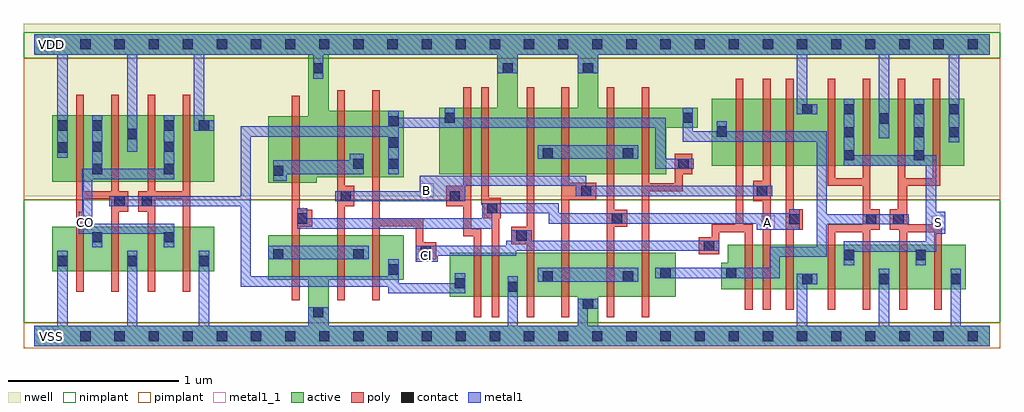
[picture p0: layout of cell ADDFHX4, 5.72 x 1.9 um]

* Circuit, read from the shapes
.subckt ADDFHX4 A B CI CO S VDD VSS
M1 CO n1 VSS VSS nfet w=0.26u l=0.045u m=4
M2 VSS A n2 VSS nfet w=0.26u l=0.045u
M3 n2 B VSS VSS nfet w=0.26u l=0.045u
M4 n1 CI n2 VSS nfet w=0.26u l=0.045u
M5 n3 B n1 VSS nfet w=0.26u l=0.045u
M6 VSS A n3 VSS nfet w=0.26u l=0.045u
M7 n4 CI VSS VSS nfet w=0.26u l=0.045u
M8 VSS B n4 VSS nfet w=0.26u l=0.045u
M9 n4 A VSS VSS nfet w=0.26u l=0.045u
M10 n5 n1 n4 VSS nfet w=0.26u l=0.045u
M11 n6 CI n5 VSS nfet w=0.26u l=0.045u
M12 n7 B n6 VSS nfet w=0.26u l=0.045u
M13 VSS A n7 VSS nfet w=0.26u l=0.045u
M14 S n5 VSS VSS nfet w=0.26u l=0.045u m=4
M15 CO n1 VDD VDD pfet w=0.39u l=0.045u m=4
M16 VDD A n8 VDD pfet w=0.39u l=0.045u
M17 n8 B VDD VDD pfet w=0.39u l=0.045u
M18 n1 CI n8 VDD pfet w=0.39u l=0.045u
M19 n9 B n1 VDD pfet w=0.39u l=0.045u
M20 VDD A n9 VDD pfet w=0.39u l=0.045u
M21 n10 CI VDD VDD pfet w=0.39u l=0.045u
M22 VDD B n10 VDD pfet w=0.39u l=0.045u
M23 n10 A VDD VDD pfet w=0.39u l=0.045u
M24 n5 n1 n10 VDD pfet w=0.39u l=0.045u
M25 n11 CI n5 VDD pfet w=0.39u l=0.045u
M26 n12 B n11 VDD pfet w=0.39u l=0.045u
M27 VDD A n12 VDD pfet w=0.39u l=0.045u
M28 S n5 VDD VDD pfet w=0.39u l=0.045u m=4
.ends

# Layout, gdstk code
import gdstk
lib = gdstk.Library(unit=1e-6, precision=5e-10)
def R(c, l, rs):  # rectangles x0, y0, x1, y1
    for r in rs: c.add(gdstk.rectangle(r[:2], r[2:], *l))
def A(c, l, x, y, w, h, nx, ny, dx, dy):  # array of equal rectangles
    R(c, l, [(x+i*dx, y+j*dy, x+i*dx+w, y+j*dy+h) for i in range(nx) for j in range(ny)])
def P(c, l, *ps):  # polygons
    for p in ps: c.add(gdstk.Polygon(p, *l))
active = (1, 0)
nwell = (2, 0)
poly = (3, 0)
nimplant = (4, 0)
pimplant = (5, 0)
contact = (6, 0)
metal1 = (7, 0)
metal1_1 = (7, 1)

addfhx4 = lib.new_cell('ADDFHX4')
R(addfhx4, active, [(0.105,0.38,1.055,0.64), (0.105,0.905,1.055,1.295), (3.97,1,5.45,1.39)])
P(addfhx4, active, [(0,1.77),(5.6,1.77),(5.6,1.65),(3.305,1.65),(3.305,1.34),(3.89,1.34),(3.89,1.22),(3.705,1.22),(3.705,0.95),(2.375,0.95),(2.375,1.34),(2.715,1.34),(2.715,1.65),(2.835,1.65),(2.835,1.34),(3.185,1.34),(3.185,1.65),(1.725,1.65),(1.725,1.32),(2.165,1.32),(2.165,0.93),(1.655,0.93),(1.655,0.9),(1.37,0.9),(1.37,1.29),(1.605,1.29),(1.605,1.65),(0,1.65)],
  [(1.37,0.59),(2.165,0.59),(2.165,0.33),(1.725,0.33),(1.725,0.06),(3.185,0.06),(3.185,0.23),(2.435,0.23),(2.435,0.49),(3.76,0.49),(3.76,0.23),(3.305,0.23),(3.305,0.06),(5.6,0.06),(5.6,-0.06),(0,-0.06),(0,0.06),(1.605,0.06),(1.605,0.33),(1.37,0.33)],
  [(4.065,0.535),(5.46,0.535),(5.46,0.275),(4.025,0.275),(4.025,0.43),(4.065,0.43)])
R(addfhx4, nwell, [(-0.06,0.82,5.66,1.83)])
P(addfhx4, poly, [(0.245,1.415),(0.29,1.415),(0.29,0.85),(0.45,0.85),(0.45,1.415),(0.495,1.415),(0.495,0.85),(0.55,0.85),(0.55,0.73),(0.495,0.73),(0.495,0.26),(0.45,0.26),(0.45,0.805),(0.29,0.805),(0.29,0.26),(0.245,0.26)],
  [(0.665,1.415),(0.71,1.415),(0.71,0.85),(0.87,0.85),(0.87,1.415),(0.915,1.415),(0.915,0.26),(0.87,0.26),(0.87,0.805),(0.71,0.805),(0.71,0.26),(0.665,0.26),(0.665,0.73),(0.61,0.73),(0.61,0.85),(0.665,0.85)],
  [(1.51,1.41),(1.555,1.41),(1.555,0.74),(1.63,0.74),(1.63,0.64),(1.555,0.64),(1.555,0.21),(1.51,0.21)],
  [(1.775,1.44),(1.82,1.44),(1.82,0.88),(1.875,0.88),(1.875,0.76),(1.82,0.76),(1.82,0.21),(1.775,0.21)],
  [(1.98,1.44),(2.025,1.44),(2.025,0.69),(2.28,0.69),(2.28,0.55),(2.355,0.55),(2.355,0.45),(2.235,0.45),(2.235,0.645),(2.025,0.645),(2.025,0.21),(1.98,0.21)],
  [(2.515,1.46),(2.56,1.46),(2.56,0.63),(2.62,0.63),(2.62,0.11),(2.575,0.11),(2.575,0.585),(2.515,0.585),(2.515,0.76),(2.415,0.76),(2.415,0.88),(2.515,0.88)],
  [(2.62,1.46),(2.665,1.46),(2.665,0.81),(2.735,0.81),(2.735,0.69),(2.725,0.69),(2.725,0.11),(2.68,0.11),(2.68,0.69),(2.635,0.69),(2.635,0.77),(2.62,0.77)],
  [(2.885,1.46),(2.93,1.46),(2.93,0.11),(2.885,0.11),(2.885,0.54),(2.795,0.54),(2.795,0.64),(2.885,0.64)],
  [(3.09,1.46),(3.135,1.46),(3.135,0.9),(3.295,0.9),(3.295,0.8),(3.135,0.8),(3.135,0.11),(3.09,0.11)],
  [(3.355,1.46),(3.4,1.46),(3.4,0.74),(3.475,0.74),(3.475,0.64),(3.4,0.64),(3.4,0.11),(3.355,0.11)],
  [(3.56,1.46),(3.605,1.46),(3.605,0.895),(3.755,0.895),(3.755,1.07),(3.855,1.07),(3.855,0.95),(3.8,0.95),(3.8,0.85),(3.605,0.85),(3.605,0.11),(3.56,0.11)],
  [(4.11,1.51),(4.155,1.51),(4.155,0.655),(4.21,0.655),(4.21,0.155),(4.165,0.155),(4.165,0.61),(4.015,0.61),(4.015,0.48),(3.895,0.48),(3.895,0.58),(3.97,0.58),(3.97,0.655),(4.11,0.655)],
  [(4.27,1.51),(4.315,1.51),(4.315,0.155),(4.27,0.155),(4.27,0.79),(4.215,0.79),(4.215,0.91),(4.27,0.91)],
  [(4.405,1.51),(4.45,1.51),(4.45,0.745),(4.505,0.745),(4.505,0.625),(4.45,0.625),(4.45,0.155),(4.405,0.155)],
  [(4.65,1.51),(4.695,1.51),(4.695,0.925),(4.855,0.925),(4.855,1.51),(4.9,1.51),(4.9,0.745),(4.955,0.745),(4.955,0.625),(4.9,0.625),(4.9,0.155),(4.855,0.155),(4.855,0.61),(4.695,0.61),(4.695,0.155),(4.65,0.155),(4.65,0.655),(4.855,0.655),(4.855,0.88),(4.65,0.88)],
  [(5.06,1.51),(5.105,1.51),(5.105,0.925),(5.265,0.925),(5.265,1.51),(5.31,1.51),(5.31,0.88),(5.115,0.88),(5.115,0.655),(5.32,0.655),(5.32,0.155),(5.275,0.155),(5.275,0.61),(5.115,0.61),(5.115,0.155),(5.07,0.155),(5.07,0.625),(5.015,0.625),(5.015,0.745),(5.06,0.745)])
R(addfhx4, nimplant, [(-0.06,0.08,5.66,0.8), (-0.06,1.63,5.66,1.78)])
R(addfhx4, pimplant, [(-0.06,-0.07,5.66,0.08), (-0.06,0.8,5.66,1.63)])
A(addfhx4, contact, 0.07, -0.03, 0.06, 0.06, 28, 2, 0.2, 1.71)
A(addfhx4, contact, 2.075, 0.98, 0.06, 0.06, 1, 3, 0, 0.125)
A(addfhx4, contact, 4.745, 1.03, 0.06, 0.06, 1, 3, 0, 0.135)
A(addfhx4, contact, 5.155, 1.03, 0.06, 0.06, 1, 3, 0, 0.135)
R(addfhx4, contact, [(1.635,0.11,1.695,0.17), (3.215,0.16,3.275,0.22), (2.775,0.26,2.835,0.32), (2.465,0.28,2.525,0.34), (4.5,0.305,4.56,0.365), (4.95,0.305,5.01,0.365), (5.37,0.305,5.43,0.365), (2.98,0.32,3.04,0.38), (3.45,0.32,3.51,0.38), (3.67,0.34,3.73,0.4), (4.055,0.34,4.115,0.4), (2.075,0.36,2.135,0.42), (0.135,0.41,0.195,0.47), (0.545,0.41,0.605,0.47), (0.965,0.41,1.025,0.47), (4.745,0.445,4.805,0.505), (5.165,0.445,5.225,0.505), (1.4,0.45,1.46,0.51), (1.87,0.45,1.93,0.51), (2.265,0.47,2.325,0.53), (3.925,0.5,3.985,0.56), (0.34,0.55,0.4,0.61), (0.76,0.55,0.82,0.61), (2.825,0.56,2.885,0.62), (4.425,0.655,4.485,0.715), (4.875,0.655,4.935,0.715), (5.035,0.655,5.095,0.715), (1.54,0.66,1.6,0.72), (3.385,0.66,3.445,0.72), (2.655,0.72,2.715,0.78), (0.47,0.76,0.53,0.82), (0.63,0.76,0.69,0.82), (1.795,0.79,1.855,0.85), (2.435,0.79,2.495,0.85), (3.205,0.82,3.265,0.88), (4.235,0.82,4.295,0.88), (1.4,0.94,1.46,1), (0.34,0.95,0.4,1.01), (0.76,0.95,0.82,1.01), (1.87,0.98,1.93,1.04), (3.775,0.98,3.835,1.04), (2.98,1.04,3.04,1.1), (3.45,1.04,3.51,1.1), (0.135,1.075,0.195,1.135), (0.34,1.08,0.4,1.14), (0.76,1.08,0.82,1.14), (0.545,1.155,0.605,1.215), (5.36,1.165,5.42,1.225), (4,1.17,4.06,1.23), (0.135,1.205,0.195,1.265), (0.34,1.205,0.4,1.265), (0.76,1.205,0.82,1.265), (0.965,1.205,1.025,1.265), (4.95,1.245,5.01,1.305), (2.405,1.25,2.465,1.31), (3.8,1.25,3.86,1.31), (4.5,1.3,4.56,1.36), (5.36,1.3,5.42,1.36), (1.635,1.54,1.695,1.6), (2.745,1.54,2.805,1.6), (3.215,1.54,3.275,1.6)])
R(addfhx4, metal1, [(2.95,0.32,3.54,0.4), (1.37,0.45,1.96,0.53), (2.95,1.04,3.54,1.12)])
P(addfhx4, metal1, [(0,1.77),(5.6,1.77),(5.6,1.65),(5.42,1.65),(5.42,1.135),(5.36,1.135),(5.36,1.65),(5.01,1.65),(5.01,1.16),(4.95,1.16),(4.95,1.65),(4.53,1.65),(4.53,1.36),(4.59,1.36),(4.59,1.3),(4.47,1.3),(4.47,1.65),(3.305,1.65),(3.305,1.54),(3.185,1.54),(3.185,1.65),(2.835,1.65),(2.835,1.54),(2.715,1.54),(2.715,1.65),(1.695,1.65),(1.695,1.51),(1.635,1.51),(1.635,1.65),(0.995,1.65),(0.995,1.265),(1.055,1.265),(1.055,1.205),(0.935,1.205),(0.935,1.65),(0.605,1.65),(0.605,1.08),(0.545,1.08),(0.545,1.65),(0.195,1.65),(0.195,1.045),(0.135,1.045),(0.135,1.65),(0,1.65)],
  [(0.34,1.295),(0.4,1.295),(0.4,0.98),(0.76,0.98),(0.76,1.295),(0.82,1.295),(0.82,0.92),(0.34,0.92),(0.34,0.66),(0.82,0.66),(0.82,0.52),(0.76,0.52),(0.76,0.6),(0.4,0.6),(0.4,0.52),(0.34,0.52),(0.34,0.6),(0.26,0.6),(0.26,0.73),(0.28,0.73),(0.28,0.98),(0.34,0.98)],
  [(2.075,1.32),(2.135,1.32),(2.135,1.28),(2.405,1.28),(2.405,1.34),(2.465,1.34),(2.465,1.28),(3.7,1.28),(3.7,1.04),(3.865,1.04),(3.865,0.98),(3.64,0.98),(3.64,1.22),(2.135,1.22),(2.135,0.95),(2.075,0.95),(2.075,1.17),(1.27,1.17),(1.27,0.35),(2.075,0.35),(2.075,0.45),(2.135,0.45),(2.135,0.31),(2.465,0.31),(2.465,0.37),(2.525,0.37),(2.525,0.25),(2.075,0.25),(2.075,0.29),(1.21,0.29),(1.21,0.76),(0.44,0.76),(0.44,0.82),(1.21,0.82),(1.21,1.23),(2.075,1.23)],
  [(1.85,1.07),(1.93,1.07),(1.93,0.95),(1.48,0.95),(1.48,0.91),(1.4,0.91),(1.4,1.03),(1.85,1.03)],
  [(4.745,1.39),(4.805,1.39),(4.805,1.06),(5.155,1.06),(5.155,1.39),(5.215,1.39),(5.215,1.06),(5.285,1.06),(5.285,0.73),(5.34,0.73),(5.34,0.6),(5.285,0.6),(5.285,0.495),(5.225,0.495),(5.225,0.415),(5.165,0.415),(5.165,0.495),(4.805,0.495),(4.805,0.415),(4.745,0.415),(4.745,0.555),(5.225,0.555),(5.225,1),(4.745,1)],
  [(3.8,1.34),(3.86,1.34),(3.86,1.2),(4,1.2),(4,1.26),(4.06,1.26),(4.06,1.2),(4.645,1.2),(4.645,0.715),(5.125,0.715),(5.125,0.655),(4.645,0.655),(4.645,0.465),(4.37,0.465),(4.37,0.34),(3.64,0.34),(3.64,0.4),(4.31,0.4),(4.31,0.525),(4.585,0.525),(4.585,1.14),(3.8,1.14)],
  [(2.26,0.94),(3.235,0.94),(3.235,0.88),(4.325,0.88),(4.325,0.82),(3.175,0.82),(3.175,0.88),(2.525,0.88),(2.525,0.79),(1.765,0.79),(1.765,0.85),(2.26,0.85)],
  [(0.135,0.5),(0.195,0.5),(0.195,0.06),(0.545,0.06),(0.545,0.5),(0.605,0.5),(0.605,0.06),(0.965,0.06),(0.965,0.5),(1.025,0.5),(1.025,0.06),(1.605,0.06),(1.605,0.17),(1.725,0.17),(1.725,0.06),(2.775,0.06),(2.775,0.35),(2.835,0.35),(2.835,0.06),(3.185,0.06),(3.185,0.22),(3.305,0.22),(3.305,0.16),(3.245,0.16),(3.245,0.06),(4.47,0.06),(4.47,0.365),(4.59,0.365),(4.59,0.305),(4.53,0.305),(4.53,0.06),(4.95,0.06),(4.95,0.395),(5.01,0.395),(5.01,0.06),(5.37,0.06),(5.37,0.395),(5.43,0.395),(5.43,0.06),(5.6,0.06),(5.6,-0.06),(0,-0.06),(0,0.06),(0.135,0.06)],
  [(1.54,0.75),(1.6,0.75),(1.6,0.69),(2.625,0.69),(2.625,0.78),(3.075,0.78),(3.075,0.72),(4.425,0.72),(4.425,0.745),(4.485,0.745),(4.485,0.625),(4.235,0.625),(4.235,0.66),(3.015,0.66),(3.015,0.72),(2.685,0.72),(2.685,0.63),(1.54,0.63)],
  [(2.795,0.62),(2.915,0.62),(2.915,0.56),(4.015,0.56),(4.015,0.5),(2.825,0.5),(2.825,0.47),(2.365,0.47),(2.365,0.435),(2.235,0.435),(2.235,0.53),(2.765,0.53),(2.765,0.56),(2.795,0.56)])
R(addfhx4, metal1_1, [(0.06,-0.04,0.14,0.04), (2.26,0.435,2.34,0.515), (0.26,0.625,0.34,0.705), (4.26,0.625,4.34,0.705), (5.26,0.625,5.34,0.705), (2.26,0.815,2.34,0.895), (0.06,1.67,0.14,1.75)])
addfhx4.add(gdstk.Label('S', (5.3,0.665), layer=7, texttype=1))
addfhx4.add(gdstk.Label('CO', (0.3,0.665), layer=7, texttype=1))
addfhx4.add(gdstk.Label('B', (2.3,0.855), layer=7, texttype=1))
addfhx4.add(gdstk.Label('A', (4.3,0.665), layer=7, texttype=1))
addfhx4.add(gdstk.Label('CI', (2.3,0.475), layer=7, texttype=1))
addfhx4.add(gdstk.Label('VDD', (0.1,1.71), layer=7, texttype=1))
addfhx4.add(gdstk.Label('VSS', (0.1,0), layer=7, texttype=1))
addfhx4.add(gdstk.Label('ADDFHX4', (0,0), layer=63, texttype=0))

lib.write_gds('ADDFHX4.gds')
